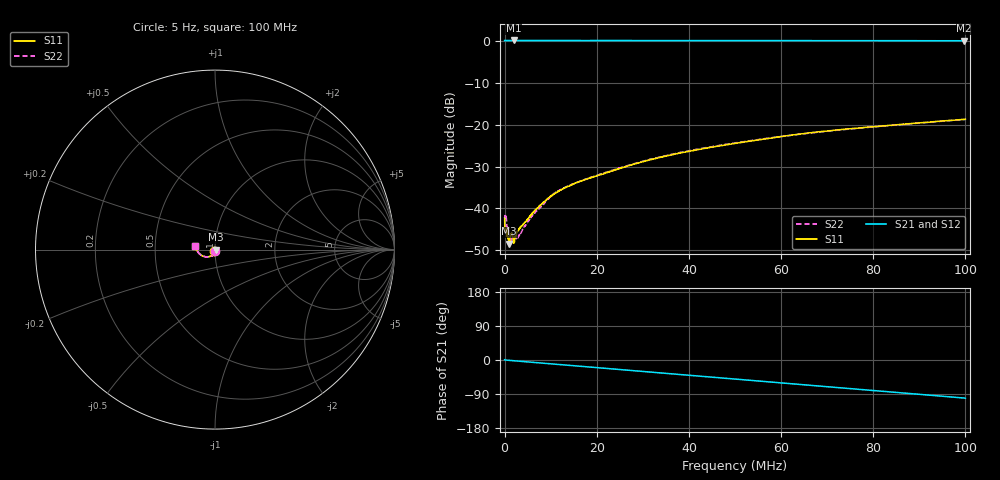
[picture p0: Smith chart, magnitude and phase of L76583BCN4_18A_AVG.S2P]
!Agilent Technologies,E5061B,MY49102235,A.02.00
!Date: Tue Jul 11 17:09:35 2023
!Data & Calibration Information:
!Freq	S11:SOLT2(ON)	S21:SOLT2(ON)	S12:SOLT2(ON)	S22:SOLT2(ON)
# Hz S RI R 50
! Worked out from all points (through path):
!   1600 points, 5 Hz to 100 MHz, reference 50 ohm
!   highest |S21| = 0.02 dB at 2.001 MHz (marker M1); lowest = -0.1 dB at 99.75 MHz (marker M2)
!   group delay of S21, straight-line fit = 2.8 ns
!   lowest |S11| = -48.4 dB at 1.001 MHz (marker M3), VSWR 1.01, Z = 50.4 - j0.0804 ohm
!   |S11| at or under -10 dB: start of sweep to end of sweep
!   |S22| runs from -49.0 to -18.8 dB; largest |S21 - S12| = 0.0028
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5  -0.00516 -0.00563  1.002 0.00801  1.001 0.0103  -0.0014 -0.00757
437778.6  0.00517 -0.000603  1.001 -0.00543  1.001 -0.00609  0.00663 -0.00222
625395.8  0.00511 -0.000637  1.002 -0.0106  1.002 -0.0101  0.00611 -0.000981
1000630  0.00372 -0.000798  1.001 -0.0166  1.001 -0.0157  0.00508 -0.00172
1563482  0.0043 -0.00291  1.001 -0.0265  1 -0.0252  0.0031 -0.00349
2001256  0.00298 -0.00285  1.002 -0.0353  1.001 -0.0345  0.00313 -0.00256
2376490  0.00324 -0.00301  1 -0.0415  1 -0.0414  0.0039 -0.00268
3252037  0.00418 -0.00422  0.9995 -0.057  0.9991 -0.0565  0.00309 -0.00373
4690436  0.00367 -0.006  0.9978 -0.0822  0.9974 -0.0819  0.00338 -0.00569
6003757  0.00326 -0.00793  0.9956 -0.1052  0.9954 -0.1047  0.00281 -0.00773
9505946  0.0014 -0.0132  0.9872 -0.1665  0.9872 -0.1659  0.000794 -0.0131
1.163227e7  -0.000131 -0.0161  0.9803 -0.2032  0.98 -0.2025  -0.00105 -0.0161
1.669794e7  -0.00398 -0.021  0.9578 -0.2894  0.9576 -0.2888  -0.00438 -0.021
2.582865e7  -0.0113 -0.0288  0.8995 -0.4387  0.8992 -0.4382  -0.00931 -0.03
3.333334e7  -0.0202 -0.0347  0.8335 -0.553  0.8333 -0.5524  -0.0189 -0.0358
4.033771e7  -0.0297 -0.0384  0.7589 -0.6507  0.7589 -0.6501  -0.0292 -0.0395
5.003127e7  -0.044 -0.04  0.6374 -0.7698  0.6374 -0.7692  -0.0442 -0.041
6.672921e7  -0.073 -0.0335  0.3868 -0.9198  0.3872 -0.9195  -0.0722 -0.0336
7.53596e7  -0.0863 -0.0237  0.2434 -0.9667  0.2438 -0.9663  -0.0855 -0.0246
8.33646e7  -0.0968 -0.0111  0.1057 -0.9907  0.1059 -0.9905  -0.0961 -0.0132
9.974984e7  -0.1135 0.0206  -0.1795 -0.9777  -0.179 -0.9778  -0.1131 0.0177
1e8  -0.1136 0.0211  -0.1838 -0.9771  -0.1834 -0.977  -0.1135 0.0184
